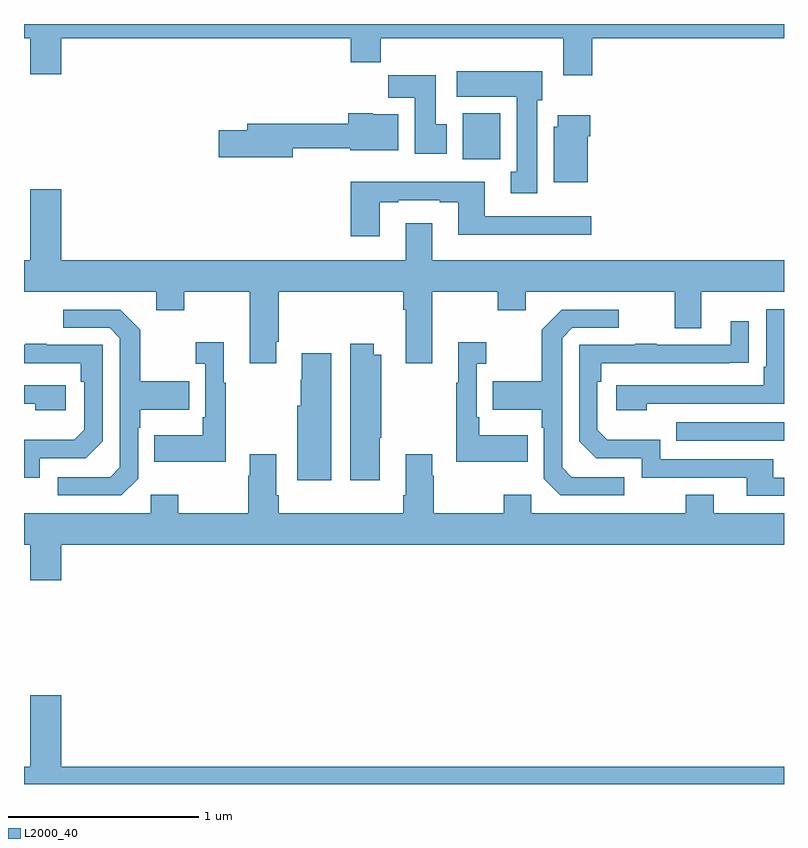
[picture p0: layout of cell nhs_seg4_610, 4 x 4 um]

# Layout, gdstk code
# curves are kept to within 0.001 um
import gdstk
lib = gdstk.Library(unit=1e-6, precision=1e-09)
def R(c, l, rs):  # rectangles x0, y0, x1, y1
    for r in rs: c.add(gdstk.rectangle(r[:2], r[2:], *l))
def P(c, l, *ps):  # polygons
    for p in ps: c.add(gdstk.Polygon(p, *l))
L2000_40 = (2000, 40)

nhs_seg4_610 = lib.new_cell('nhs_seg4_610')
R(nhs_seg4_610, L2000_40, [(144.433,790.707,145,790.803), (143.309,792.188,143.506,792.43)])
P(nhs_seg4_610, L2000_40, [(143.99,792.824),(145,792.824),(145,792.9),(141,792.9),(141,792.824),(141.032,792.824),(141.032,792.636),(141.196,792.636),(141.196,792.824),(142.721,792.824),(142.721,792.7),(142.877,792.7),(142.877,792.824),(143.837,792.824),(143.837,792.63),(143.99,792.63)],
  [(143.701,792.498),(143.728,792.498),(143.728,792.652),(143.277,792.652),(143.277,792.518),(143.594,792.518),(143.594,792.122),(143.561,792.122),(143.561,792.009),(143.701,792.009)],
  [(143.224,792.372),(143.167,792.372),(143.167,792.631),(142.918,792.631),(142.918,792.512),(143.057,792.512),(143.057,792.216),(143.224,792.216)],
  [(142.414,792.247),(142.718,792.247),(142.718,792.236),(142.969,792.236),(142.969,792.424),(142.836,792.424),(142.836,792.43),(142.706,792.43),(142.706,792.376),(142.175,792.376),(142.175,792.342),(142.026,792.342),(142.026,792.2),(142.414,792.2)],
  [(143.968,792.308),(143.981,792.308),(143.981,792.421),(143.81,792.421),(143.81,792.36),(143.789,792.36),(143.789,792.068),(143.968,792.068)],
  [(142.873,791.961),(142.969,791.961),(142.969,791.973),(143.189,791.973),(143.189,791.961),(143.285,791.961),(143.285,791.792),(143.986,791.792),(143.986,791.889),(143.425,791.889),(143.425,792.07),(142.721,792.07),(142.721,791.784),(142.873,791.784)],
  [(142.327,791.227),(142.34,791.227),(142.34,791.492),(142.997,791.492),(142.997,791.396),(143.009,791.396),(143.009,791.115),(143.149,791.115),(143.149,791.492),(143.494,791.492),(143.494,791.393),(143.641,791.393),(143.641,791.492),(144.425,791.492),(144.425,791.298),(144.565,791.298),(144.565,791.492),(145,791.492),(145,791.656),(143.149,791.656),(143.149,791.851),(143.009,791.851),(143.009,791.656),(141.196,791.656),(141.196,792.031),(141.032,792.031),(141.032,791.656),(141,791.656),(141,791.492),(141.695,791.492),(141.695,791.393),(141.843,791.393),(141.843,791.492),(142.187,791.492),(142.187,791.115),(142.327,791.115)],
  [(144.278,790.902),(145,790.902),(145,791.4),(144.906,791.4),(144.906,791.095),(144.893,791.095),(144.893,790.998),(144.117,790.998),(144.117,790.868),(144.278,790.868)],
  [(141.6,790.506),(141.6,790.775),(141.613,790.775),(141.613,790.871),(141.869,790.871),(141.869,791.019),(141.613,791.019),(141.613,791.291),(141.507,791.397),(141.207,791.397),(141.207,791.301),(141.45,791.301),(141.504,791.247),(141.504,790.566),(141.453,790.515),(141.177,790.515),(141.177,790.419),(141.513,790.419)],
  [(144.16,790.515),(143.883,790.515),(143.832,790.566),(143.832,791.247),(143.886,791.301),(144.13,791.301),(144.13,791.397),(143.829,791.397),(143.724,791.291),(143.724,791.019),(143.467,791.019),(143.467,790.871),(143.724,790.871),(143.724,790.775),(143.736,790.775),(143.736,790.506),(143.823,790.419),(144.16,790.419)],
  [(145,790.512),(144.943,790.512),(144.943,790.608),(144.348,790.608),(144.348,790.711),(144.071,790.711),(144.018,790.764),(144.018,791.018),(144.038,791.018),(144.038,791.115),(144.815,791.116),(144.815,791.335),(144.719,791.335),(144.719,791.211),(144.329,791.211),(144.329,791.216),(144.217,791.216),(144.217,791.211),(143.922,791.211),(143.922,790.704),(144.012,790.614),(144.252,790.614),(144.252,790.512),(144.803,790.512),(144.803,790.416),(145,790.416)],
  [(142.063,791.011),(142.051,791.011),(142.051,791.224),(141.903,791.224),(141.903,791.111),(141.954,791.111),(141.954,790.831),(141.942,790.831),(141.942,790.735),(141.685,790.735),(141.685,790.595),(142.063,790.595)],
  [(143.651,790.735),(143.395,790.735),(143.395,790.831),(143.382,790.831),(143.382,791.111),(143.434,791.111),(143.434,791.224),(143.285,791.224),(143.285,791.011),(143.274,791.011),(143.274,790.595),(143.651,790.595)],
  [(142.873,790.723),(142.881,790.723),(142.881,791.158),(142.84,791.158),(142.84,791.218),(142.718,791.218),(142.718,790.5),(142.873,790.5)],
  [(141.084,790.614),(141.324,790.614),(141.414,790.704),(141.414,791.211),(141.119,791.211),(141.119,791.216),(141.007,791.216),(141.007,791.211),(141,791.211),(141,791.115),(141.298,791.115),(141.298,791.018),(141.318,791.018),(141.318,790.764),(141.265,790.711),(141,790.711),(141,790.512),(141.084,790.512)],
  [(142.618,791.167),(142.463,791.167),(142.463,791.027),(142.456,791.027),(142.456,790.89),(142.439,790.89),(142.439,790.5),(142.618,790.5)],
  [(141.22,790.998),(141,790.998),(141,790.902),(141.059,790.902),(141.059,790.868),(141.22,790.868)],
  [(141.196,790.16),(145,790.16),(145,790.324),(144.631,790.324),(144.631,790.423),(144.484,790.423),(144.484,790.324),(143.67,790.324),(143.67,790.423),(143.524,790.423),(143.524,790.324),(143.157,790.324),(143.157,790.523),(143.149,790.523),(143.149,790.636),(143.009,790.636),(143.009,790.42),(142.997,790.42),(142.997,790.324),(142.34,790.324),(142.34,790.42),(142.327,790.42),(142.327,790.636),(142.187,790.636),(142.187,790.523),(142.18,790.523),(142.18,790.324),(141.813,790.324),(141.813,790.423),(141.666,790.423),(141.666,790.324),(141,790.324),(141,790.16),(141.032,790.16),(141.032,789.972),(141.196,789.972)],
  [(145,788.992),(141.196,788.992),(141.196,789.367),(141.032,789.367),(141.032,788.992),(141,788.992),(141,788.9),(145,788.9)])

lib.write_gds('nhs_seg4_610.gds')
